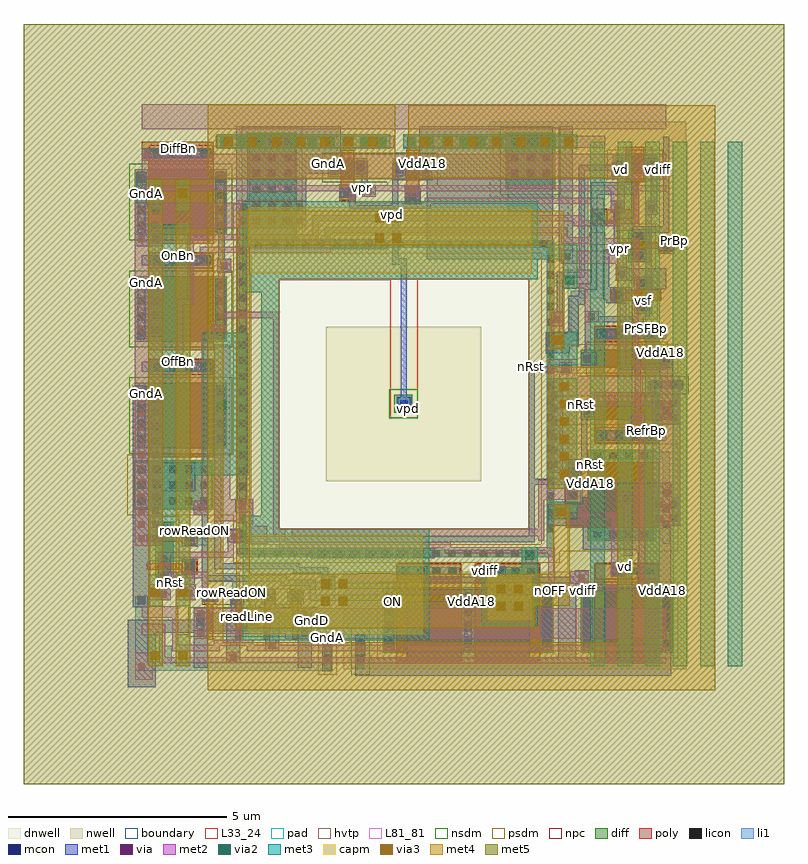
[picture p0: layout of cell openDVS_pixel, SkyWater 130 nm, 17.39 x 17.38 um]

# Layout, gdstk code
import gdstk
lib = gdstk.Library(unit=1e-6, precision=1e-09)
def R(c, l, rs):  # rectangles x0, y0, x1, y1
    for r in rs: c.add(gdstk.rectangle(r[:2], r[2:], *l))
def A(c, l, x, y, w, h, nx, ny, dx, dy):  # array of equal rectangles
    R(c, l, [(x+i*dx, y+j*dy, x+i*dx+w, y+j*dy+h) for i in range(nx) for j in range(ny)])
def P(c, l, *ps):  # polygons
    for p in ps: c.add(gdstk.Polygon(p, *l))
L33_24 = (33, 24)
dnwell = (64, 18)
nwell = (64, 20)
diff = (65, 20)
poly = (66, 20)
licon = (66, 44)
li1 = (67, 20)
mcon = (67, 44)
met1 = (68, 20)
via = (68, 44)
met2 = (69, 20)
via2 = (69, 44)
met3 = (70, 20)
via3 = (70, 44)
met4 = (71, 20)
met5 = (72, 20)
pad = (76, 20)
hvtp = (78, 44)
L81_81 = (81, 81)
capm = (89, 44)
nsdm = (93, 44)
psdm = (94, 20)
npc = (95, 20)
boundary = (235, 4)

opendvs_pixel = lib.new_cell('openDVS_pixel')
R(opendvs_pixel, L33_24, [(3.31,3.275,9.01,5.83), (3.31,5.83,5.86,8.975), (6.46,5.83,9.01,8.98)])
R(opendvs_pixel, dnwell, [(3.31,3.28,9.01,8.98)])
R(opendvs_pixel, nwell, [(9.905,0.06,12.615,0.065), (4.775,0.065,12.615,2.295), (9.905,2.295,12.615,10.865), (4.39,4.36,7.93,7.9), (8.12,10.865,12.615,12.585)])
A(opendvs_pixel, diff, 0.01, 5.115, 2.1, 1.5, 1, 3, 0, 2.44)
R(opendvs_pixel, diff, [(4.325,0.065,4.495,0.875), (5.08,0.065,5.25,0.875), (5.68,0.445,9.58,1.945), (10.21,0.445,12.31,1.945), (1.355,0.935,4.055,1.355), (0.475,2.035,0.895,3.435), (10.36,3,11.86,5.08), (-0.045,3.71,1.805,4.84), (10.21,5.775,12.31,6.195), (5.945,5.93,6.355,6.34), (11.735,6.475,12.545,6.645), (10.21,6.955,12.31,7.375), (11.425,8.195,11.845,9.045), (11.295,9.375,11.795,10.125), (8.49,11.045,9.62,12.33), (5.91,11.245,6.81,11.745), (4.42,11.325,5.32,11.745), (10.935,11.4,11.955,11.82)])
P(opendvs_pixel, diff, [(2.38,2.63),(2.38,9.7),(2.55,9.7),(2.55,2.8),(9.43,2.8),(9.43,9.7),(2.38,9.7),(2.38,10.58),(2.58,10.58),(2.58,12.335),(3.71,12.335),(3.71,9.87),(9.6,9.87),(9.6,2.63)])
R(opendvs_pixel, poly, [(5.98,0.245,7.48,2.475), (7.78,0.245,9.28,2.475), (10.51,0.245,12.01,2.475), (9.86,3.3,12,4.8), (0.31,4.915,1.81,7.145), (10.51,5.245,12.01,6.395), (10.51,6.755,12.01,7.905), (0.31,7.355,1.81,9.585), (6.21,10.715,6.51,11.945), (4.72,10.795,5.02,11.945)])
P(opendvs_pixel, poly, [(1.655,0.735),(1.655,1.555),(1.595,1.555),(1.595,1.885),(1.865,1.885),(1.865,1.555),(1.805,1.555),(1.805,0.735)],
  [(2.305,0.735),(2.305,1.555),(2.185,1.555),(2.185,1.885),(2.455,1.885),(2.455,0.735)],
  [(2.955,0.735),(2.955,1.885),(3.225,1.885),(3.225,1.555),(3.105,1.555),(3.105,0.735)],
  [(3.605,0.735),(3.605,1.555),(3.545,1.555),(3.545,1.885),(3.815,1.885),(3.815,1.555),(3.755,1.555),(3.755,0.735)],
  [(1.095,2.275),(1.095,2.335),(0.275,2.335),(0.275,2.485),(1.095,2.485),(1.095,2.545),(1.425,2.545),(1.425,2.275)],
  [(1.095,2.925),(1.095,2.985),(0.275,2.985),(0.275,3.135),(1.095,3.135),(1.095,3.195),(1.425,3.195),(1.425,2.925)],
  [(10.895,8.485),(10.895,8.755),(11.225,8.755),(11.225,8.745),(12.045,8.745),(12.045,8.495),(11.225,8.495),(11.225,8.485)],
  [(11.995,9.615),(11.995,9.675),(11.095,9.675),(11.095,9.825),(11.995,9.825),(11.995,9.885),(12.325,9.885),(12.325,9.615)],
  [(10.465,10.25),(10.465,10.58),(11.36,10.58),(11.36,11.2),(11.235,11.2),(11.235,12.015),(11.655,12.015),(11.655,11.2),(11.53,11.2),(11.53,10.25)],
  [(0.31,9.795),(0.31,11.695),(0.16,11.695),(0.16,12.13),(1.81,12.13),(1.81,9.795)])
A(opendvs_pixel, licon, 5.745, 0.57, 0.17, 0.17, 3, 4, 1.8, 0.36)
A(opendvs_pixel, licon, 10.275, 0.57, 0.17, 0.17, 1, 4, 0, 0.36)
A(opendvs_pixel, licon, 12.075, 0.57, 0.17, 0.17, 1, 4, 0, 0.36)
A(opendvs_pixel, licon, 1.42, 1.06, 0.17, 0.17, 3, 1, 1.2, 0)
A(opendvs_pixel, licon, 6.105, 2.225, 0.17, 0.17, 4, 1, 0.36, 0)
A(opendvs_pixel, licon, 7.905, 2.225, 0.17, 0.17, 4, 1, 0.36, 0)
A(opendvs_pixel, licon, 10.995, 2.225, 0.17, 0.17, 3, 1, 0.36, 0)
A(opendvs_pixel, licon, 3.19, 2.63, 0.17, 0.17, 4, 1, 0.36, 0)
A(opendvs_pixel, licon, 10.5, 3.06, 0.17, 0.17, 4, 2, 0.36, 1.81)
A(opendvs_pixel, licon, 2.38, 3.075, 0.17, 0.17, 1, 19, 0, 0.36)
A(opendvs_pixel, licon, 0.075, 3.83, 0.17, 0.17, 5, 3, 0.36, 0.36)
A(opendvs_pixel, licon, 0.075, 5.24, 0.17, 0.17, 1, 4, 0, 0.36)
A(opendvs_pixel, licon, 1.875, 5.24, 0.17, 0.17, 1, 4, 0, 0.36)
A(opendvs_pixel, licon, 10.635, 5.325, 0.17, 0.17, 4, 2, 0.36, 2.33)
A(opendvs_pixel, licon, 0.435, 6.895, 0.17, 0.17, 4, 3, 0.36, 2.44)
A(opendvs_pixel, licon, 0.075, 7.68, 0.17, 0.17, 1, 4, 0, 0.36)
A(opendvs_pixel, licon, 1.875, 7.68, 0.17, 0.17, 1, 4, 0, 0.36)
A(opendvs_pixel, licon, 9.43, 7.915, 0.17, 0.17, 1, 4, 0, 0.36)
A(opendvs_pixel, licon, 3.47, 9.7, 0.17, 0.17, 4, 1, 0.36, 0)
A(opendvs_pixel, licon, 0.075, 10.12, 0.17, 0.17, 1, 4, 0, 0.36)
A(opendvs_pixel, licon, 1.875, 10.12, 0.17, 0.17, 1, 4, 0, 0.36)
A(opendvs_pixel, licon, 2.7, 10.245, 0.17, 0.17, 3, 6, 0.36, 0.36)
A(opendvs_pixel, licon, 8.61, 11.325, 0.17, 0.17, 3, 3, 0.36, 0.36)
R(opendvs_pixel, licon, [(4.325,0.225,4.495,0.395), (5.08,0.225,5.25,0.395), (4.325,0.585,4.495,0.755), (5.08,0.585,5.25,0.755), (1.645,1.635,1.815,1.805), (2.235,1.635,2.405,1.805), (3.005,1.635,3.175,1.805), (3.595,1.635,3.765,1.805), (0.6,2.1,0.77,2.27), (1.175,2.325,1.345,2.495), (2.825,2.63,2.995,2.8), (4.635,2.63,4.805,2.8), (4.995,2.63,5.165,2.8), (5.36,2.63,5.53,2.8), (5.72,2.63,5.89,2.8), (6.085,2.63,6.255,2.8), (6.445,2.63,6.615,2.8), (6.81,2.63,6.98,2.8), (7.17,2.63,7.34,2.8), (7.535,2.63,7.705,2.8), (7.895,2.63,8.065,2.8), (8.26,2.63,8.43,2.8), (8.62,2.63,8.79,2.8), (8.985,2.63,9.155,2.8), (1.175,2.975,1.345,3.145), (0.6,3.2,0.77,3.37), (9.43,3.2,9.6,3.37), (9.43,3.565,9.6,3.735), (9.43,3.925,9.6,4.095), (9.94,3.95,10.11,4.12), (9.43,4.29,9.6,4.46), (9.94,4.31,10.11,4.48), (9.43,4.65,9.6,4.82), (9.43,5.015,9.6,5.185), (9.43,5.375,9.6,5.545), (9.43,5.74,9.6,5.91), (10.275,5.9,10.445,6.07), (12.075,5.9,12.245,6.07), (6.075,6.05,6.245,6.22), (9.43,6.1,9.6,6.27), (9.43,6.465,9.6,6.635), (11.895,6.475,12.065,6.645), (12.255,6.475,12.425,6.645), (9.43,6.825,9.6,6.995), (10.275,7.08,10.445,7.25), (12.075,7.08,12.245,7.25), (9.43,7.19,9.6,7.36), (9.43,7.55,9.6,7.72), (11.55,8.26,11.72,8.43), (10.975,8.535,11.145,8.705), (11.55,8.81,11.72,8.98), (9.43,9.36,9.6,9.53), (11.46,9.44,11.63,9.61), (12.075,9.665,12.245,9.835), (2.745,9.7,2.915,9.87), (3.105,9.7,3.275,9.87), (4.915,9.7,5.085,9.87), (5.275,9.7,5.445,9.87), (5.64,9.7,5.81,9.87), (6,9.7,6.17,9.87), (6.365,9.7,6.535,9.87), (6.725,9.7,6.895,9.87), (7.09,9.7,7.26,9.87), (7.45,9.7,7.62,9.87), (7.815,9.7,7.985,9.87), (8.175,9.7,8.345,9.87), (8.54,9.7,8.71,9.87), (8.9,9.7,9.07,9.87), (9.265,9.7,9.435,9.87), (11.46,9.89,11.63,10.06), (10.545,10.33,10.715,10.5), (6.275,10.795,6.445,10.965), (4.785,10.875,4.955,11.045), (5.975,11.41,6.145,11.58), (6.575,11.41,6.745,11.58), (4.485,11.45,4.655,11.62), (5.085,11.45,5.255,11.62), (11,11.52,11.17,11.69), (11.72,11.52,11.89,11.69)])
A(opendvs_pixel, li1, 5.745, 0.49, 0.17, 1.41, 3, 1, 1.8, 0)
A(opendvs_pixel, li1, 1.42, 0.98, 0.17, 0.33, 3, 1, 1.2, 0)
A(opendvs_pixel, li1, 0.075, 5.16, 0.17, 1.41, 1, 3, 0, 2.44)
A(opendvs_pixel, li1, 1.875, 5.16, 0.17, 1.41, 1, 3, 0, 2.44)
A(opendvs_pixel, li1, 0.355, 6.895, 1.41, 0.17, 1, 3, 0, 2.44)
R(opendvs_pixel, li1, [(5.08,0.065,5.25,0.875), (10.275,0.49,10.445,1.9), (12.075,0.49,12.245,1.9), (3.005,1.555,3.175,1.885), (1.565,1.635,1.895,1.805), (0.52,2.1,0.85,2.27), (6.025,2.225,7.435,2.395), (7.825,2.225,9.235,2.395), (10.915,2.225,11.965,2.395), (1.175,2.245,1.345,2.575), (0.52,3.2,0.85,3.37), (9.86,3.87,10.24,4.75), (10.555,5.325,11.965,5.495), (10.275,5.82,10.445,6.15), (12.075,5.82,12.245,6.15), (5.995,5.97,6.325,6.3), (11.755,6.475,12.565,6.645), (10.275,7,10.445,7.33), (12.075,7,12.245,7.33), (10.555,7.655,11.965,7.825), (11.47,8.26,11.8,8.43), (10.975,8.455,11.145,8.785), (11.47,8.81,11.8,8.98), (11.38,9.44,11.71,9.61), (12.075,9.585,12.245,9.915), (11.38,9.89,11.71,10.06), (8.53,10.52,9.58,12.29), (6.195,10.795,6.525,10.965), (4.705,10.875,5.035,11.045), (5.975,11.33,6.145,11.66), (6.575,11.33,6.745,11.66), (4.485,11.37,4.655,11.7), (5.085,11.37,5.255,11.7), (11.72,11.44,11.89,11.77)])
P(opendvs_pixel, li1, [(0.02,0.03),(0.02,1.75),(0.3,1.75),(0.3,0.23),(0.63,0.23),(0.63,0.6),(0.85,0.6),(0.85,0.23),(4.325,0.23),(4.325,0.875),(4.495,0.875),(4.495,0.23),(4.5,0.23),(4.5,0.03)],
  [(3.515,1.635),(3.515,1.805),(3.675,1.805),(3.675,2.055),(4.265,2.055),(4.265,2.215),(4.595,2.215),(4.595,1.885),(3.845,1.885),(3.845,1.635)],
  [(2.235,1.555),(2.235,1.885),(2.24,1.885),(2.24,2.085),(1.675,2.085),(1.675,2.895),(1.175,2.895),(1.175,3.225),(1.345,3.225),(1.345,3.065),(1.845,3.065),(1.845,2.255),(2.41,2.255),(2.41,1.805),(2.405,1.805),(2.405,1.555)],
  [(-0.005,3.75),(-0.005,4.805),(1.405,4.805),(1.405,4.8),(1.765,4.8),(1.765,3.75)],
  [(12.075,2.93),(12.075,3.06),(10.42,3.06),(10.42,3.23),(12.075,3.23),(12.075,4.87),(10.42,4.87),(10.42,5.04),(12.245,5.04),(12.245,2.93)],
  [(9.77,6.8),(9.77,7.735),(9.98,7.735),(9.98,8.72),(10.545,8.72),(10.545,10.6),(10.715,10.6),(10.715,8.55),(10.15,8.55),(10.15,7.565),(9.94,7.565),(9.94,6.8)],
  [(10.92,11.325),(10.92,11.655),(11,11.655),(11,11.77),(11.17,11.77),(11.17,11.325)],
  [(2.38,2.63),(2.38,9.7),(2.55,9.7),(2.55,2.8),(9.43,2.8),(9.43,9.7),(2.38,9.7),(2.38,10.58),(2.62,10.58),(2.62,12.295),(3.67,12.295),(3.67,9.87),(9.6,9.87),(9.6,9.06),(10.205,9.06),(10.205,11.3),(10.375,11.3),(10.375,8.89),(9.6,8.89),(9.6,2.63)])
A(opendvs_pixel, mcon, 5.745, 0.635, 0.17, 0.17, 1, 3, 0, 0.36)
A(opendvs_pixel, mcon, 7.545, 0.635, 0.17, 0.17, 1, 3, 0, 0.36)
A(opendvs_pixel, mcon, 9.345, 0.735, 0.17, 0.17, 1, 3, 0, 0.36)
A(opendvs_pixel, mcon, 10.275, 0.735, 0.17, 0.17, 1, 3, 0, 0.36)
A(opendvs_pixel, mcon, 1.42, 1.06, 0.17, 0.17, 3, 1, 1.2, 0)
A(opendvs_pixel, mcon, 4.915, 2.63, 0.17, 0.17, 3, 1, 0.36, 0)
A(opendvs_pixel, mcon, 12.075, 3.295, 0.17, 0.17, 1, 3, 0, 0.36)
A(opendvs_pixel, mcon, 2.38, 3.795, 0.17, 0.17, 1, 17, 0, 0.36)
A(opendvs_pixel, mcon, 0.075, 4.195, 0.17, 0.17, 4, 2, 0.36, 0.36)
A(opendvs_pixel, mcon, 0.075, 5.24, 0.17, 0.17, 1, 4, 0, 0.36)
A(opendvs_pixel, mcon, 1.875, 5.24, 0.17, 0.17, 1, 4, 0, 0.36)
A(opendvs_pixel, mcon, 10.635, 5.325, 0.17, 0.17, 4, 2, 0.36, 2.33)
A(opendvs_pixel, mcon, 0.435, 6.895, 0.17, 0.17, 4, 3, 0.36, 2.44)
A(opendvs_pixel, mcon, 0.075, 7.68, 0.17, 0.17, 1, 4, 0, 0.36)
A(opendvs_pixel, mcon, 1.875, 7.68, 0.17, 0.17, 1, 4, 0, 0.36)
A(opendvs_pixel, mcon, 3.47, 9.7, 0.17, 0.17, 4, 1, 0.36, 0)
A(opendvs_pixel, mcon, 0.075, 10.12, 0.17, 0.17, 1, 4, 0, 0.36)
A(opendvs_pixel, mcon, 1.875, 10.12, 0.17, 0.17, 1, 4, 0, 0.36)
A(opendvs_pixel, mcon, 2.7, 10.245, 0.17, 0.17, 3, 6, 0.36, 0.36)
A(opendvs_pixel, mcon, 8.61, 11.325, 0.17, 0.17, 3, 3, 0.36, 0.36)
R(opendvs_pixel, mcon, [(4.325,0.225,4.495,0.395), (5.08,0.225,5.25,0.395), (4.325,0.585,4.495,0.755), (5.08,0.585,5.25,0.755), (12.075,1.095,12.245,1.265), (12.075,1.455,12.245,1.625), (0.075,1.55,0.245,1.72), (1.645,1.635,1.815,1.805), (2.235,1.635,2.405,1.805), (3.005,1.635,3.175,1.805), (3.595,1.635,3.765,1.805), (4.345,1.965,4.515,2.135), (0.6,2.1,0.77,2.27), (6.105,2.225,6.275,2.395), (6.465,2.225,6.635,2.395), (7.905,2.225,8.075,2.395), (8.265,2.225,8.435,2.395), (10.995,2.225,11.165,2.395), (1.175,2.325,1.345,2.495), (4.19,2.63,4.36,2.8), (4.55,2.63,4.72,2.8), (6,2.63,6.17,2.8), (6.36,2.63,6.53,2.8), (1.175,2.975,1.345,3.145), (0.6,3.2,0.77,3.37), (9.99,4.5,10.16,4.67), (10.275,5.9,10.445,6.07), (12.075,5.9,12.245,6.07), (6.075,6.05,6.245,6.22), (11.895,6.475,12.065,6.645), (12.255,6.475,12.425,6.645), (9.77,6.885,9.94,7.055), (10.275,7.08,10.445,7.25), (12.075,7.08,12.245,7.25), (9.43,7.44,9.6,7.61), (11.55,8.26,11.72,8.43), (10.975,8.535,11.145,8.705), (11.55,8.81,11.72,8.98), (11.46,9.44,11.63,9.61), (12.075,9.665,12.245,9.835), (2.745,9.7,2.915,9.87), (3.105,9.7,3.275,9.87), (4.915,9.7,5.085,9.87), (5.275,9.7,5.445,9.87), (11.46,9.89,11.63,10.06), (6.275,10.795,6.445,10.965), (4.785,10.875,4.955,11.045), (10.98,11.4,11.15,11.57), (5.975,11.41,6.145,11.58), (6.575,11.41,6.745,11.58), (4.485,11.45,4.655,11.62), (5.085,11.45,5.255,11.62), (11.72,11.52,11.89,11.69)])
A(opendvs_pixel, met1, 0.16, 6.865, 1.585, 0.23, 1, 3, 0, 2.44)
R(opendvs_pixel, met1, [(4.295,0.02,4.525,0.84), (3.73,0.1,4.05,1.465), (3.495,1.605,3.865,1.835), (0.505,1.64,0.825,1.9), (10.935,2.195,11.225,2.515), (1.145,2.875,1.375,3.245), (9.465,4.56,9.795,6.715), (10.575,5.295,12.16,5.525), (10.575,7.625,12.16,7.855), (11.975,9.635,12.345,9.865)])
P(opendvs_pixel, met1, [(-0.16,-0.35),(-0.16,1.2),(1.36,1.2),(1.36,1.465),(1.68,1.465),(1.68,0.1),(1.36,0.1),(1.36,0.9),(0.48,0.9),(0.48,-0.35)],
  [(2.1,0.2),(2.1,1.1),(2.195,1.1),(2.195,1.605),(2.205,1.605),(2.205,1.905),(2.435,1.905),(2.435,1.535),(2.42,1.535),(2.42,0.2)],
  [(2.99,0.48),(2.99,1.5),(2.975,1.5),(2.975,1.905),(3.205,1.905),(3.205,1.5),(3.31,1.5),(3.31,0.48)],
  [(2.56,1),(2.56,1.29),(2.635,1.29),(2.635,1.605),(2.575,1.605),(2.575,1.93),(2.835,1.93),(2.835,1.605),(2.775,1.605),(2.775,1.29),(2.85,1.29),(2.85,1)],
  [(10.245,0.48),(10.245,2.005),(10.065,2.005),(10.065,2.035),(6.555,2.035),(6.555,2.195),(6.045,2.195),(6.045,2.425),(6.695,2.425),(6.695,2.175),(7.845,2.175),(7.845,2.425),(8.495,2.425),(8.495,2.175),(10.065,2.175),(10.065,2.325),(10.385,2.325),(10.385,1.875),(10.48,1.875),(10.48,0.48)],
  [(1.13,1.64),(1.13,1.965),(1.145,1.965),(1.145,2.595),(1.375,2.595),(1.375,1.965),(1.4,1.965),(1.4,1.64)],
  [(0.54,2.04),(0.54,2.75),(0.83,2.75),(0.83,2.29),(0.985,2.29),(0.985,2.04)],
  [(4.03,2.6),(4.03,2.69),(2.35,2.69),(2.35,2.83),(6.865,2.83),(6.865,2.6)],
  [(5.715,0.48),(5.715,1.625),(4.005,1.625),(4.005,1.975),(3.345,1.975),(3.345,2.07),(1.68,2.07),(1.68,1.835),(1.915,1.835),(1.915,1.605),(1.54,1.605),(1.54,3.6),(1.36,3.6),(1.36,3.92),(1.68,3.92),(1.68,2.21),(3.485,2.21),(3.485,2.115),(4.145,2.115),(4.145,1.765),(5.945,1.765),(5.945,0.48)],
  [(5.05,-0.08),(5.05,0.855),(5.28,0.855),(5.28,0.34),(6.22,0.34),(6.22,1.615),(9.035,1.615),(9.035,0.34),(9.685,0.34),(9.685,1.865),(10.105,1.865),(10.105,0.34),(10.76,0.34),(10.76,1.915),(11.505,1.915),(11.505,2.795),(10.245,2.795),(10.245,3.35),(9.45,3.35),(9.45,3.85),(10.245,3.85),(10.245,4),(10.38,4),(10.38,4.33),(12.275,4.33),(12.275,3.99),(12.48,3.99),(12.48,3.35),(12.275,3.35),(12.275,-0.08)],
  [(-0.045,1.48),(-0.045,6.55),(0.275,6.55),(0.275,6.41),(0.64,6.41),(0.64,4.785),(1.385,4.785),(1.385,4.135),(0.64,4.135),(0.64,3.43),(0.83,3.43),(0.83,3.14),(0.64,3.14),(0.64,2.89),(0.365,2.89),(0.365,1.48)],
  [(9.315,0.48),(9.315,1.755),(6.1,1.755),(6.1,1.905),(4.285,1.905),(4.285,2.255),(3.625,2.255),(3.625,2.35),(1.82,2.35),(1.82,6.55),(2.075,6.55),(2.075,5.18),(1.985,5.18),(1.985,2.49),(3.765,2.49),(3.765,2.395),(4.425,2.395),(4.425,2.195),(4.575,2.195),(4.575,2.045),(6.24,2.045),(6.24,1.895),(9.545,1.895),(9.545,0.48)],
  [(2.125,2.97),(2.125,3.28),(2.445,3.28),(2.445,3.11),(9.01,3.11),(9.01,6.995),(9.71,6.995),(9.71,7.09),(10,7.09),(10,6.855),(9.15,6.855),(9.15,4.42),(9.935,4.42),(9.935,4.865),(10.215,4.865),(10.215,6.125),(10.505,6.125),(10.505,5.84),(10.355,5.84),(10.355,4.865),(10.575,4.865),(10.575,4.725),(10.22,4.725),(10.22,4.42),(10.075,4.42),(10.075,4.28),(9.15,4.28),(9.15,2.97)],
  [(11.84,5.665),(11.84,6.445),(11.79,6.445),(11.79,6.675),(12.015,6.675),(12.015,7.31),(12.305,7.31),(12.305,6.675),(12.53,6.675),(12.53,6.445),(12.48,6.445),(12.48,5.665)],
  [(11.35,5.665),(11.35,5.925),(11.44,5.925),(11.44,7.455),(11.76,7.455),(11.76,7.195),(11.58,7.195),(11.58,5.925),(11.67,5.925),(11.67,5.665)],
  [(10.215,7.02),(10.215,7.31),(10.295,7.31),(10.295,8.255),(10.615,8.255),(10.615,8.135),(11.49,8.135),(11.49,8.49),(11.78,8.49),(11.78,8.135),(11.645,8.135),(11.645,7.995),(10.435,7.995),(10.435,7.31),(10.57,7.31),(10.57,7.02)],
  [(0.045,7.62),(0.045,7.67),(0,7.67),(0,8.95),(0.045,8.95),(0.045,8.99),(0.275,8.99),(0.275,8.95),(0.64,8.95),(0.64,7.67),(0.275,7.67),(0.275,7.62)],
  [(1.755,7.62),(1.755,7.94),(1.845,7.94),(1.845,8.99),(2.075,8.99),(2.075,7.62)],
  [(11.49,8.75),(11.49,8.945),(11,8.945),(11,9.265),(11.26,9.265),(11.26,9.24),(12.16,9.24),(12.16,8.75)],
  [(10.79,8.435),(10.79,8.51),(10.72,8.51),(10.72,9.67),(10.955,9.67),(10.955,10.515),(10.895,10.515),(10.895,10.775),(11.215,10.775),(11.215,10.515),(11.095,10.515),(11.095,9.67),(11.69,9.67),(11.69,9.38),(11.4,9.38),(11.4,9.53),(10.86,9.53),(10.86,8.805),(11.175,8.805),(11.175,8.435)],
  [(6.175,10.765),(6.175,11.13),(6.495,11.13),(6.495,10.995),(6.545,10.995),(6.545,10.765)],
  [(9.4,7.29),(9.4,7.76),(9.935,7.76),(9.935,8.6),(10.16,8.6),(10.16,8.88),(10.44,8.88),(10.44,11.2),(11.5,11.2),(11.5,10.92),(10.58,10.92),(10.58,8.74),(10.3,8.74),(10.3,8.4),(10.155,8.4),(10.155,7.45),(9.95,7.45),(9.95,7.29)],
  [(0,9.74),(0,10.7),(0.045,10.7),(0.045,11.43),(0.275,11.43),(0.275,10.7),(0.64,10.7),(0.64,9.74)],
  [(1.89,9.13),(1.89,9.45),(1.92,9.45),(1.92,10.06),(1.845,10.06),(1.845,11.43),(2.075,11.43),(2.075,10.06),(2.06,10.06),(2.06,9.45),(2.21,9.45),(2.21,9.13)],
  [(9.535,7.905),(9.535,8.225),(9.655,8.225),(9.655,9.16),(10.16,9.16),(10.16,11.6),(10.9,11.6),(10.9,11.63),(11.21,11.63),(11.21,11.34),(10.9,11.34),(10.9,11.46),(10.3,11.46),(10.3,9.02),(9.795,9.02),(9.795,7.905)],
  [(6.015,5.99),(6.015,6.28),(6.09,6.28),(6.09,9.32),(5.895,9.32),(5.895,10.53),(4.915,10.53),(4.915,10.845),(4.685,10.845),(4.685,11.075),(5.055,11.075),(5.055,10.67),(5.895,10.67),(5.895,11.64),(6.205,11.64),(6.205,11.35),(6.035,11.35),(6.035,9.46),(6.23,9.46),(6.23,6.28),(6.305,6.28),(6.305,5.99)],
  [(5.195,10.87),(5.195,11.39),(5.025,11.39),(5.025,11.68),(5.335,11.68),(5.335,11.13),(5.515,11.13),(5.515,10.87)],
  [(11.69,10.455),(11.69,10.775),(11.81,10.775),(11.81,11.46),(11.66,11.46),(11.66,11.75),(11.95,11.75),(11.95,10.455)],
  [(11.4,9.83),(11.4,10.19),(12.09,10.19),(12.09,12.245),(12.23,12.245),(12.23,10.05),(11.69,10.05),(11.69,9.83)],
  [(2.35,3.645),(2.35,3.65),(2.3,3.65),(2.3,3.95),(2.35,3.95),(2.35,10.15),(2.33,10.15),(2.33,12.48),(4.715,12.48),(4.715,11.39),(3.93,11.39),(3.93,10.15),(2.58,10.15),(2.58,9.9),(5.755,9.9),(5.755,9.67),(2.58,9.67),(2.58,3.95),(2.63,3.95),(2.63,3.65),(2.58,3.65),(2.58,3.645)],
  [(6.685,9.44),(6.685,11.35),(6.515,11.35),(6.515,12.48),(9.565,12.48),(9.565,9.44)],
  [(9.76,9.34),(9.76,9.39),(9.705,9.39),(9.705,12.485),(10.02,12.485),(10.02,9.34)])
A(opendvs_pixel, via, 0.085, 2.975, 0.15, 0.15, 1, 11, 0, 0.32)
A(opendvs_pixel, via, 0.405, 2.975, 0.15, 0.15, 1, 11, 0, 0.32)
A(opendvs_pixel, via, 9.52, 4.675, 0.15, 0.15, 1, 6, 0, 0.32)
A(opendvs_pixel, via, 0.085, 7.755, 0.15, 0.15, 1, 4, 0, 0.32)
A(opendvs_pixel, via, 0.405, 7.755, 0.15, 0.15, 1, 4, 0, 0.32)
A(opendvs_pixel, via, 0.085, 9.825, 0.15, 0.15, 1, 3, 0, 0.32)
A(opendvs_pixel, via, 0.405, 9.825, 0.15, 0.15, 1, 3, 0, 0.32)
A(opendvs_pixel, via, 2.415, 10.235, 0.15, 0.15, 5, 2, 0.32, 0.32)
R(opendvs_pixel, via, [(0.085,0.055,0.235,0.205), (2.185,0.255,2.335,0.405), (3.075,0.535,3.225,0.685), (1.445,0.82,1.595,0.97), (3.815,0.82,3.965,0.97), (1.445,1.255,1.595,1.405), (3.815,1.255,3.965,1.405), (0.59,1.695,0.74,1.845), (2.63,1.695,2.78,1.845), (1.185,1.725,1.335,1.875), (10.15,2.09,10.3,2.24), (10.99,2.28,11.14,2.43), (0.595,2.515,0.745,2.665), (2.21,3.025,2.36,3.175), (11.925,3.435,12.075,3.585), (12.245,3.435,12.395,3.585), (1.445,3.685,1.595,3.835), (2.39,3.72,2.54,3.87), (11.925,3.755,12.075,3.905), (12.245,3.755,12.395,3.905), (11.16,3.89,11.31,4.04), (11.435,5.72,11.585,5.87), (11.925,5.75,12.075,5.9), (12.245,5.75,12.395,5.9), (11.925,6.07,12.075,6.22), (12.245,6.07,12.395,6.22), (11.525,7.25,11.675,7.4), (1.84,7.705,1.99,7.855), (9.59,7.99,9.74,8.14), (10.38,8.05,10.53,8.2), (11.055,9.03,11.205,9.18), (1.975,9.215,2.125,9.365), (9.815,9.425,9.965,9.575), (11.745,10.54,11.895,10.69), (10.98,10.57,11.13,10.72), (5.28,10.925,5.43,11.075), (6.26,10.925,6.41,11.075)])
R(opendvs_pixel, met2, [(0.02,-0.18,0.42,0.44), (0.965,1.64,1.4,2.01), (9.525,7.41,9.805,8.24), (0.16,11.27,12.16,11.85), (1.86,11.99,5.94,12.27), (6.15,11.99,10.77,12.27), (0.16,12.41,12.16,12.99)])
P(opendvs_pixel, met2, [(0.56,0.2),(0.56,0.84),(0.16,0.84),(0.16,1.1),(0.7,1.1),(0.7,0.34),(2.1,0.34),(2.1,0.46),(2.42,0.46),(2.42,0.34),(12.16,0.34),(12.16,0.2)],
  [(1.36,0.76),(1.36,1.46),(12.16,1.46),(12.16,0.76),(3.45,0.76),(3.45,0.88),(1.67,0.88),(1.67,0.76)],
  [(0.86,0.48),(0.86,1.24),(0.16,1.24),(0.16,1.5),(1,1.5),(1,0.62),(1.81,0.62),(1.81,0.74),(2.71,0.74),(2.71,0.62),(2.99,0.62),(2.99,0.74),(3.31,0.74),(3.31,0.62),(12.16,0.62),(12.16,0.48),(2.57,0.48),(2.57,0.6),(1.95,0.6),(1.95,0.48)],
  [(0.335,1.64),(0.335,2.01),(0.615,2.01),(0.615,2.29),(1.68,2.29),(1.68,1.9),(2.865,1.9),(2.865,1.64),(2.54,1.64),(2.54,1.76),(1.54,1.76),(1.54,2.15),(0.755,2.15),(0.755,1.925),(0.825,1.925),(0.825,1.64)],
  [(0.54,2.43),(0.54,2.75),(2.13,2.75),(2.13,3.26),(2.415,3.26),(2.415,2.94),(2.27,2.94),(2.27,2.61),(0.81,2.61),(0.81,2.43)],
  [(10.905,2.195),(10.905,3.52),(9.515,3.52),(9.515,3.8),(9.885,3.8),(9.885,3.66),(11.045,3.66),(11.045,2.515),(11.225,2.515),(11.225,2.195)],
  [(11.185,2.655),(11.185,3.8),(11.09,3.8),(11.09,4.14),(11.39,4.14),(11.39,2.655)],
  [(9.235,3),(9.235,3.11),(3.59,3.11),(3.59,3.28),(9.235,3.28),(9.235,4.4),(9.465,4.4),(9.465,7.15),(10.12,7.15),(10.12,6.775),(12.48,6.775),(12.48,3.35),(11.84,3.35),(11.84,6.065),(10.12,6.065),(10.12,3.94),(9.375,3.94),(9.375,3)],
  [(2.555,2.93),(2.555,3.4),(2.335,3.4),(2.335,3.45),(1.82,3.45),(1.82,7.48),(2.19,7.48),(2.19,3.955),(2.72,3.955),(2.72,3.35),(3.03,3.35),(3.03,2.93)],
  [(1.36,3.6),(1.36,3.92),(1.54,3.92),(1.54,7.76),(1.755,7.76),(1.755,7.94),(2.075,7.94),(2.075,7.62),(1.68,7.62),(1.68,3.6)],
  [(10.295,7.995),(10.295,8.775),(9.79,8.775),(9.79,9.2),(10.435,9.2),(10.435,8.255),(10.615,8.255),(10.615,7.995)],
  [(9.465,1.865),(9.465,2.715),(9.22,2.715),(9.22,2.485),(8.85,2.485),(8.85,2.715),(7.095,2.715),(7.095,2.83),(3.31,2.83),(3.31,3.14),(3.17,3.14),(3.17,8.095),(1.92,8.095),(1.92,9.13),(1.89,9.13),(1.89,9.45),(2.21,9.45),(2.21,9.13),(2.06,9.13),(2.06,8.235),(3.31,8.235),(3.31,3.28),(3.45,3.28),(3.45,2.97),(7.235,2.97),(7.235,2.855),(9.605,2.855),(9.605,2.005),(9.96,2.005),(9.96,2.3),(10.385,2.3),(10.385,2.005),(11.53,2.005),(11.53,5.665),(11.35,5.665),(11.35,5.925),(11.67,5.925),(11.67,1.865)],
  [(11,8.945),(11,9.34),(9.76,9.34),(9.76,9.66),(10.02,9.66),(10.02,9.635),(11.26,9.635),(11.26,8.945)],
  [(11.1,6.915),(11.1,8.805),(11.4,8.805),(11.4,9.775),(10.4,9.775),(10.4,9.8),(9.76,9.8),(9.76,10.03),(4.49,10.03),(4.49,9.59),(1.63,9.59),(1.63,9.305),(1.49,9.305),(1.49,9.73),(4.35,9.73),(4.35,10.17),(9.9,10.17),(9.9,9.94),(10.4,9.94),(10.4,10.055),(10.77,10.055),(10.77,9.915),(11.54,9.915),(11.54,8.665),(11.24,8.665),(11.24,7.055),(12.16,7.055),(12.16,6.915)],
  [(11.38,7.195),(11.38,8.525),(11.69,8.525),(11.69,10.775),(11.95,10.775),(11.95,10.455),(11.83,10.455),(11.83,8.385),(11.52,8.385),(11.52,7.455),(11.76,7.455),(11.76,7.195)],
  [(0,2.89),(0,10.73),(2.33,10.73),(2.33,10.79),(3.93,10.79),(3.93,10.15),(0.64,10.15),(0.64,2.89)],
  [(10.44,10.475),(10.44,10.71),(6.775,10.71),(6.775,10.59),(4.91,10.59),(4.91,10.99),(0.16,10.99),(0.16,11.13),(5.05,11.13),(5.05,10.73),(6.635,10.73),(6.635,10.85),(10.725,10.85),(10.725,10.475)],
  [(10.895,10.515),(10.895,10.99),(6.495,10.99),(6.495,10.87),(6.175,10.87),(6.175,10.99),(5.515,10.99),(5.515,10.87),(5.195,10.87),(5.195,11.13),(11.215,11.13),(11.215,10.515)],
  [(0.98,6.96),(0.98,8.54),(1.21,8.54),(1.21,10.01),(4.07,10.01),(4.07,10.45),(10.23,10.45),(10.23,10.335),(11.03,10.335),(11.03,10.375),(11.4,10.375),(11.4,11.13),(12.16,11.13),(12.16,10.99),(11.54,10.99),(11.54,10.195),(11.4,10.195),(11.4,10.095),(11.03,10.095),(11.03,10.195),(10.045,10.195),(10.045,10.31),(4.21,10.31),(4.21,9.87),(1.35,9.87),(1.35,8.4),(1.12,8.4),(1.12,6.96)])
A(opendvs_pixel, via2, 9.725, 4.43, 0.2, 0.2, 1, 6, 0, 0.4)
A(opendvs_pixel, via2, 1.965, 12.03, 0.2, 0.2, 10, 1, 0.4, 0)
A(opendvs_pixel, via2, 6.235, 12.03, 0.2, 0.2, 10, 1, 0.4, 0)
R(opendvs_pixel, via2, [(0.375,1.725,0.575,1.925), (1.005,1.725,1.205,1.925), (8.935,2.57,9.135,2.77), (9.6,3.56,9.8,3.76), (1.9,6,2.1,6.2), (9.565,7.495,9.765,7.695), (9.855,8.86,10.055,9.06)])
A(opendvs_pixel, met3, 10.42, 0.13, 0.33, 12, 6, 1, 0.63, 0)
R(opendvs_pixel, met3, [(0.31,0.13,0.64,0.86), (0.94,0.13,1.27,0.86), (0.31,1.5,0.64,2.23), (0.94,1.5,1.27,2.23), (9.465,3.495,10.12,3.895), (9.465,4.195,10.12,6.715), (9.5,7.015,10.12,7.78), (0.31,10.54,0.64,11.27), (0.94,10.54,1.27,11.27), (1.88,11.965,5.85,12.295), (6.15,11.965,10.12,12.295)])
P(opendvs_pixel, met3, [(7.94,1.06),(7.94,2.34),(8.85,2.34),(8.85,2.855),(9.22,2.855),(9.22,1.06)],
  [(0.31,2.53),(0.31,10.24),(1.27,10.24),(1.27,4.8),(1.57,4.8),(1.57,7.76),(2.6,7.76),(2.6,4.5),(1.27,4.5),(1.27,2.53)],
  [(2.47,0.73),(2.47,3.58),(2.9,3.58),(2.9,8.68),(2.47,8.68),(2.47,10.765),(9.22,10.765),(9.22,9.77),(10.12,9.77),(10.12,8.77),(9.79,8.77),(9.79,9.44),(9.22,9.44),(9.22,8.98),(3.31,8.98),(3.31,3.28),(6.735,3.28),(6.735,0.73)])
A(opendvs_pixel, via3, 9.725, 4.43, 0.2, 0.2, 1, 6, 0, 0.4)
A(opendvs_pixel, via3, 2.05, 12.03, 0.2, 0.2, 7, 1, 0.55, 0)
A(opendvs_pixel, via3, 6.53, 12.03, 0.2, 0.2, 7, 1, 0.55, 0)
R(opendvs_pixel, via3, [(0.375,0.28,0.575,0.48), (1.005,0.28,1.205,0.48), (8.28,1.4,8.48,1.6), (8.68,1.4,8.88,1.6), (4.265,1.52,4.465,1.72), (4.665,1.52,4.865,1.72), (0.375,1.725,0.575,1.925), (1.005,1.725,1.205,1.925), (8.28,1.8,8.48,2), (8.68,1.8,8.88,2), (4.265,1.92,4.465,2.12), (4.665,1.92,4.865,2.12), (9.665,3.56,9.865,3.76), (9.565,7.49,9.765,7.69), (5.505,9.82,5.705,10.02), (5.905,9.82,6.105,10.02), (5.505,10.285,5.705,10.485), (5.905,10.285,6.105,10.485), (0.375,10.85,0.575,11.05), (1.005,10.85,1.205,11.05)])
R(opendvs_pixel, met4, [(0.31,0.13,0.64,11.27), (0.94,0.13,1.27,11.27), (1.67,11.29,5.965,12.97)])
P(opendvs_pixel, met4, [(2.33,1.005),(2.33,10.55),(9.83,10.55),(9.83,7.385),(9.5,7.385),(9.5,9.755),(2.64,9.755),(2.64,2.245),(5.14,2.245),(5.14,2.255),(5.87,2.255),(5.87,2.245),(9.575,2.245),(9.575,3.835),(9.955,3.835),(9.955,1.515),(9.165,1.515),(9.165,1.005)],
  [(1.67,-0.42),(1.67,10.99),(2.03,10.99),(2.03,0.68),(11.035,0.68),(11.035,4.195),(9.465,4.195),(9.465,6.985),(11.035,6.985),(11.035,11.3),(6.265,11.3),(6.265,12.96),(13.285,12.96),(13.285,-0.42)])
R(opendvs_pixel, met5, [(-2.53,-2.56,14.855,3.28), (-2.53,3.28,3.31,8.98), (9.01,3.28,14.855,8.98), (-2.53,8.98,14.855,14.82)])
R(opendvs_pixel, pad, [(3.31,3.28,9.01,8.98)])
R(opendvs_pixel, hvtp, [(10.33,6.775,12.19,7.555), (11.055,11.22,11.835,12)])
R(opendvs_pixel, L81_81, [(3.31,3.28,9.01,8.98)])
R(opendvs_pixel, capm, [(2.61,0.87,6.595,3.14), (8.08,1.2,9.08,2.2), (2.61,9.12,9.08,10.625)])
A(opendvs_pixel, nsdm, -0.115, 4.99, 2.35, 1.75, 1, 3, 0, 2.44)
R(opendvs_pixel, nsdm, [(4.955,-0.06,5.375,1), (1.23,0.81,4.18,1.48), (0.35,1.91,1.02,3.56), (5.82,5.805,6.48,6.465), (11.61,6.35,12.67,6.77), (8.365,10.92,9.745,12.455), (5.785,11.12,6.935,11.2), (4.295,11.2,6.935,11.87)])
R(opendvs_pixel, psdm, [(4.2,-0.06,4.62,1), (5.555,0.32,9.705,2.07), (10.085,0.32,12.435,2.07), (10.81,11.275,12.08,11.945)])
P(opendvs_pixel, psdm, [(11.3,8.07),(11.3,9.25),(11.17,9.25),(11.17,10.25),(11.92,10.25),(11.92,9.17),(11.97,9.17),(11.97,8.07)],
  [(2.255,2.505),(2.255,3.585),(-0.17,3.585),(-0.17,4.965),(2.255,4.965),(2.255,9.575),(2.675,9.575),(2.675,2.925),(9.305,2.925),(9.305,9.575),(2.255,9.575),(2.255,10.705),(2.455,10.705),(2.455,12.46),(3.835,12.46),(3.835,9.995),(9.725,9.995),(9.725,7.5),(12.435,7.5),(12.435,6.83),(9.725,6.83),(9.725,6.32),(12.435,6.32),(12.435,5.65),(9.725,5.65),(9.725,5.225),(12.435,5.225),(12.435,2.76),(9.725,2.76),(9.725,2.505)])
A(opendvs_pixel, npc, 0.335, 6.795, 1.45, 0.37, 1, 3, 0, 2.44)
R(opendvs_pixel, npc, [(1.545,1.535,2.505,1.905), (2.905,1.535,3.865,1.905), (6.005,2.125,7.455,2.495), (7.805,2.125,9.255,2.495), (10.535,2.125,11.985,2.495), (1.075,2.225,1.445,2.595), (1.075,2.875,1.445,3.245), (9.84,3.85,10.21,4.58), (10.535,5.225,11.985,5.595), (10.535,7.555,11.985,7.925), (10.875,8.435,11.245,8.805), (11.975,9.565,12.345,9.935), (10.445,10.23,10.815,10.6), (6.175,10.695,6.545,11.065), (4.685,10.775,5.055,11.145)])
R(opendvs_pixel, boundary, [(10.445,0.725,10.51,0.73)])
opendvs_pixel.add(gdstk.Label('nRst', (9.08,6.995), layer=68, texttype=5))
opendvs_pixel.add(gdstk.Label('vsf', (11.645,8.49), layer=68, texttype=5))
opendvs_pixel.add(gdstk.Label('nRst', (10.43,4.75), layer=68, texttype=5))
opendvs_pixel.add(gdstk.Label('PrSFBp', (11.7,7.85), layer=68, texttype=5))
opendvs_pixel.add(gdstk.Label('nRst', (10.22,6.13), layer=68, texttype=5))
opendvs_pixel.add(gdstk.Label('vdiff', (8.005,2.325), layer=68, texttype=5))
opendvs_pixel.add(gdstk.Label('GndA', (0.275,6.36), layer=68, texttype=5))
opendvs_pixel.add(gdstk.Label('DiffBn', (1.015,11.975), layer=68, texttype=5))
opendvs_pixel.add(gdstk.Label('OnBn', (1.015,9.535), layer=68, texttype=5))
opendvs_pixel.add(gdstk.Label('OffBn', (1.015,7.095), layer=68, texttype=5))
opendvs_pixel.add(gdstk.Label('rowReadON', (1.365,3.245), layer=68, texttype=5))
opendvs_pixel.add(gdstk.Label('nRst', (0.815,2.05), layer=68, texttype=5))
opendvs_pixel.add(gdstk.Label('RefrBp', (11.7,5.525), layer=68, texttype=5))
opendvs_pixel.add(gdstk.Label('OffBn', (0.345,7.095), layer=68, texttype=5))
opendvs_pixel.add(gdstk.Label('vdiff', (10.255,1.865), layer=68, texttype=5))
opendvs_pixel.add(gdstk.Label('ON', (5.895,1.615), layer=68, texttype=5))
opendvs_pixel.add(gdstk.Label('vpr', (5.195,11.09), layer=68, texttype=5))
opendvs_pixel.add(gdstk.Label('vd', (11.22,2.41), layer=68, texttype=5))
opendvs_pixel.add(gdstk.Label('VddA18', (10.43,4.305), layer=68, texttype=5))
opendvs_pixel.add(gdstk.Label('VddA18', (6.595,11.63), layer=68, texttype=5))
opendvs_pixel.add(gdstk.Label('VddA18', (7.715,1.615), layer=68, texttype=5))
opendvs_pixel.add(gdstk.Label('VddA18', (12.075,1.875), layer=68, texttype=5))
opendvs_pixel.add(gdstk.Label('GndA', (4.445,11.63), layer=68, texttype=5))
opendvs_pixel.add(gdstk.Label('GndA', (0.275,10.955), layer=68, texttype=5))
opendvs_pixel.add(gdstk.Label('GndA', (0.275,8.905), layer=68, texttype=5))
opendvs_pixel.add(gdstk.Label('GndA', (0.815,3.43), layer=68, texttype=5))
opendvs_pixel.add(gdstk.Label('nOFF', (9.515,1.87), layer=68, texttype=5))
opendvs_pixel.add(gdstk.Label('pixRst', (1.355,1.97), layer=68, texttype=5))
opendvs_pixel.add(gdstk.Label('rowReadON', (2.21,1.825), layer=68, texttype=5))
opendvs_pixel.add(gdstk.Label('rowReadOFF', (2.985,1.825), layer=68, texttype=5))
opendvs_pixel.add(gdstk.Label('readLine', (2.56,1.28), layer=68, texttype=5))
opendvs_pixel.add(gdstk.Label('PrBp', (12.345,9.865), layer=68, texttype=5))
opendvs_pixel.add(gdstk.Label('VddA18', (12.035,7.31), layer=68, texttype=5))
opendvs_pixel.add(gdstk.Label('vd', (11.125,11.5), layer=68, texttype=5))
opendvs_pixel.add(gdstk.Label('vdiff', (11.95,11.5), layer=68, texttype=5))
opendvs_pixel.add(gdstk.Label('VddA18', (11.575,10.105), layer=68, texttype=5))
opendvs_pixel.add(gdstk.Label('vpr', (11.09,9.675), layer=68, texttype=5))
opendvs_pixel.add(gdstk.Label('GndD', (4.04,1.19), layer=68, texttype=5))
opendvs_pixel.add(gdstk.Label('GndA', (4.405,0.79), layer=68, texttype=5))
opendvs_pixel.add(gdstk.Label('vpd', (5.9,10.475), layer=68, texttype=5))
opendvs_pixel.add(gdstk.Label('vpd', (6.275,6.02), layer=68, texttype=5))

lib.write_gds('openDVS_pixel.gds')
